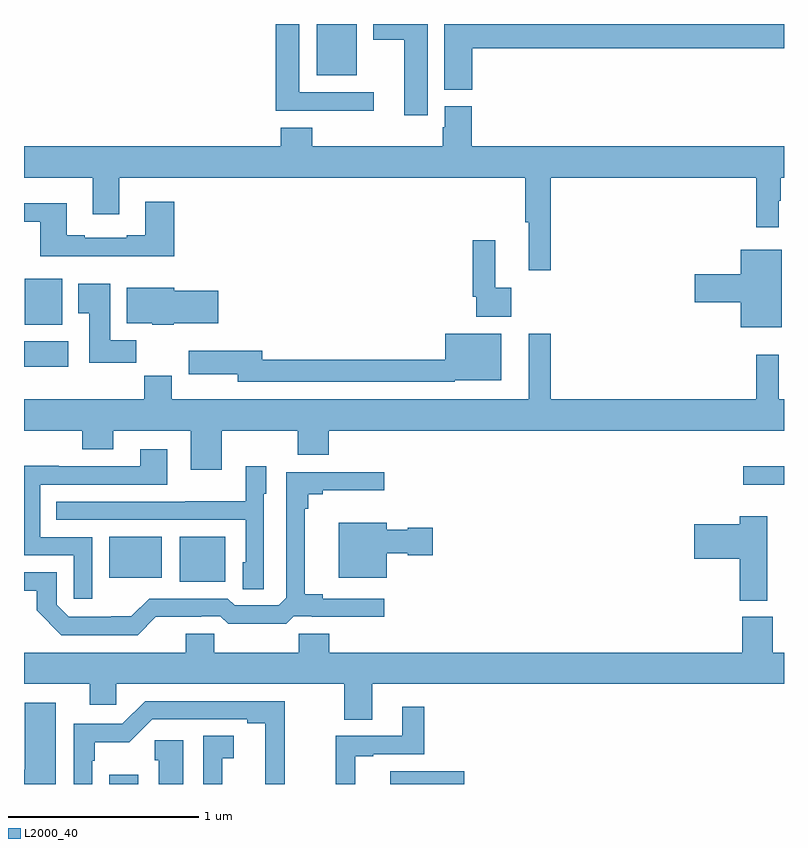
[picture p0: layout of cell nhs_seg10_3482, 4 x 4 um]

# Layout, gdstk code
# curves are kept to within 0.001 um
import gdstk
lib = gdstk.Library(unit=1e-6, precision=1e-09)
def R(c, l, rs):  # rectangles x0, y0, x1, y1
    for r in rs: c.add(gdstk.rectangle(r[:2], r[2:], *l))
def P(c, l, *ps):  # polygons
    for p in ps: c.add(gdstk.Polygon(p, *l))
L2000_40 = (2000, 40)

nhs_seg10_3482 = lib.new_cell('nhs_seg10_3482')
R(nhs_seg10_3482, L2000_40, [(301.448,1254.5,301.6,1254.55), (302.927,1254.5,303.316,1254.567), (301.82,1255.565,302.059,1255.801), (301.448,1255.586,301.726,1255.801), (304.785,1256.076,305,1256.172), (301,1256.696,301.234,1256.83), (301.004,1256.918,301.201,1257.16), (302.54,1258.229,302.752,1258.5)])
P(nhs_seg10_3482, L2000_40, [(303.359,1258.372),(305,1258.372),(305,1258.5),(303.212,1258.5),(303.212,1258.153),(303.359,1258.153)],
  [(303.124,1258.5),(302.837,1258.5),(302.837,1258.418),(303.002,1258.418),(303.002,1258.02),(303.124,1258.02)],
  [(302.842,1258.14),(302.449,1258.14),(302.449,1258.5),(302.324,1258.5),(302.324,1258.043),(302.842,1258.043)],
  [(303.773,1257.692),(304.855,1257.692),(304.855,1257.429),(304.972,1257.429),(304.972,1257.569),(304.984,1257.569),(304.984,1257.692),(305,1257.692),(305,1257.856),(303.356,1257.856),(303.356,1258.068),(303.215,1258.068),(303.215,1257.957),(303.203,1257.957),(303.203,1257.856),(302.516,1257.856),(302.516,1257.955),(302.351,1257.955),(302.351,1257.856),(301,1257.856),(301,1257.692),(301.361,1257.692),(301.361,1257.498),(301.501,1257.498),(301.501,1257.692),(303.637,1257.692),(303.637,1257.456),(303.656,1257.456),(303.656,1257.204),(303.773,1257.204)],
  [(301.79,1257.565),(301.637,1257.565),(301.637,1257.388),(301.541,1257.388),(301.541,1257.375),(301.321,1257.375),(301.321,1257.388),(301.225,1257.388),(301.225,1257.556),(301,1257.556),(301,1257.459),(301.085,1257.459),(301.085,1257.278),(301.79,1257.278)],
  [(303.565,1257.113),(303.479,1257.113),(303.479,1257.361),(303.361,1257.361),(303.361,1257.064),(303.381,1257.064),(303.381,1256.96),(303.565,1256.96)],
  [(304.987,1257.313),(304.772,1257.313),(304.772,1257.182),(304.53,1257.182),(304.53,1257.035),(304.772,1257.035),(304.772,1256.903),(304.987,1256.903)],
  [(301.592,1256.836),(301.453,1256.836),(301.453,1257.133),(301.286,1257.133),(301.286,1256.977),(301.343,1256.977),(301.343,1256.718),(301.592,1256.718)],
  [(301.788,1256.924),(302.023,1256.924),(302.023,1257.095),(301.792,1257.095),(301.792,1257.112),(301.541,1257.112),(301.541,1256.924),(301.674,1256.924),(301.674,1256.918),(301.788,1256.918)],
  [(302.041,1256.36),(302.441,1256.36),(302.441,1256.232),(302.605,1256.232),(302.605,1256.36),(305,1256.36),(305,1256.524),(304.973,1256.524),(304.973,1256.758),(304.855,1256.758),(304.855,1256.524),(303.773,1256.524),(303.773,1256.869),(303.656,1256.869),(303.656,1256.524),(301.777,1256.524),(301.777,1256.648),(301.633,1256.648),(301.633,1256.524),(301,1256.524),(301,1256.36),(301.307,1256.36),(301.307,1256.261),(301.471,1256.261),(301.471,1256.36),(301.877,1256.36),(301.877,1256.154),(302.041,1256.154)],
  [(303.267,1256.624),(303.511,1256.624),(303.511,1256.869),(303.218,1256.869),(303.218,1256.732),(302.254,1256.732),(302.254,1256.779),(301.866,1256.779),(301.866,1256.657),(302.126,1256.657),(302.126,1256.616),(303.267,1256.616)],
  [(301.359,1255.8),(301.086,1255.8),(301.086,1256.076),(301.753,1256.076),(301.753,1256.263),(301.613,1256.263),(301.613,1256.172),(301.183,1256.172),(301.183,1256.174),(301,1256.174),(301,1255.704),(301.263,1255.704),(301.263,1255.476),(301.359,1255.476)],
  [(302.262,1256.028),(302.275,1256.028),(302.275,1256.173),(302.166,1256.173),(302.166,1255.987),(301.849,1255.987),(301.849,1255.986),(301.171,1255.986),(301.171,1255.89),(302.166,1255.89),(302.166,1255.668),(302.15,1255.668),(302.15,1255.525),(302.262,1255.525)],
  [(301.694,1255.379),(301.934,1255.379),(301.934,1255.383),(302.034,1255.383),(302.074,1255.344),(302.381,1255.344),(302.421,1255.383),(302.515,1255.383),(302.515,1255.379),(302.896,1255.379),(302.896,1255.476),(302.572,1255.476),(302.572,1255.499),(302.477,1255.499),(302.477,1255.949),(302.495,1255.949),(302.495,1256.026),(302.572,1256.026),(302.572,1256.045),(302.896,1256.045),(302.896,1256.142),(302.379,1256.142),(302.379,1255.479),(302.34,1255.44),(302.109,1255.44),(302.073,1255.476),(301.659,1255.476),(301.565,1255.382),(301.46,1255.382),(301.46,1255.38),(301.236,1255.38),(301.173,1255.443),(301.173,1255.614),(301,1255.614),(301,1255.517),(301.066,1255.517),(301.066,1255.415),(301.196,1255.284),(301.599,1255.284)],
  [(304.912,1255.909),(304.766,1255.909),(304.766,1255.868),(304.527,1255.868),(304.527,1255.685),(304.766,1255.685),(304.766,1255.465),(304.912,1255.465)],
  [(302.908,1255.715),(303.021,1255.715),(303.021,1255.703),(303.151,1255.703),(303.151,1255.85),(303.021,1255.85),(303.021,1255.837),(302.908,1255.837),(302.908,1255.876),(302.657,1255.876),(302.657,1255.586),(302.908,1255.586)],
  [(302.833,1255.028),(305,1255.028),(305,1255.192),(304.941,1255.192),(304.941,1255.38),(304.781,1255.38),(304.781,1255.192),(302.606,1255.192),(302.606,1255.29),(302.446,1255.29),(302.446,1255.192),(302.001,1255.192),(302.001,1255.29),(301.85,1255.29),(301.85,1255.192),(301,1255.192),(301,1255.028),(301.346,1255.028),(301.346,1254.918),(301.485,1254.918),(301.485,1255.028),(302.686,1255.028),(302.686,1254.838),(302.833,1254.838)],
  [(301.359,1254.623),(301.372,1254.623),(301.372,1254.719),(301.553,1254.719),(301.674,1254.84),(302.174,1254.84),(302.174,1254.82),(302.27,1254.82),(302.269,1254.5),(302.372,1254.5),(302.372,1254.936),(301.638,1254.936),(301.518,1254.816),(301.263,1254.816),(301.263,1254.5),(301.359,1254.5)],
  [(301.168,1254.928),(301.004,1254.928),(301.004,1254.574),(301,1254.574),(301,1254.5),(301.168,1254.5)],
  [(302.744,1254.645),(302.839,1254.645),(302.839,1254.657),(303.107,1254.657),(303.107,1254.907),(302.99,1254.907),(302.99,1254.753),(302.641,1254.753),(302.641,1254.5),(302.744,1254.5)],
  [(302.043,1254.635),(302.104,1254.635),(302.104,1254.755),(301.944,1254.755),(301.944,1254.5),(302.043,1254.5)],
  [(301.837,1254.73),(301.687,1254.73),(301.687,1254.624),(301.709,1254.624),(301.709,1254.5),(301.837,1254.5)])

lib.write_gds('nhs_seg10_3482.gds')
